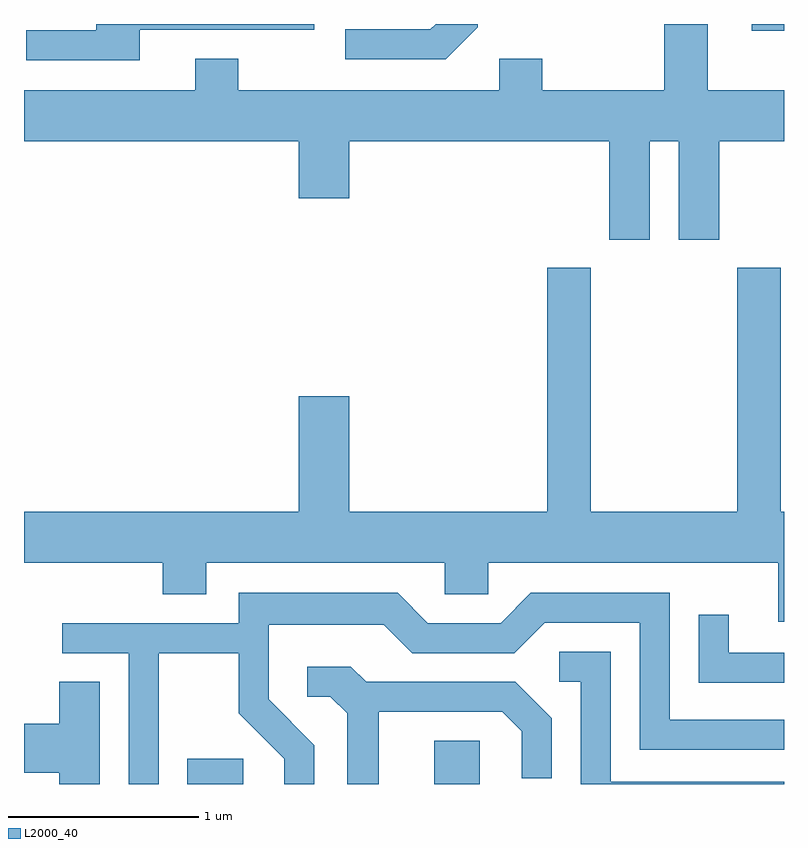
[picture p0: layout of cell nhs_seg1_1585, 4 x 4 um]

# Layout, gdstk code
import gdstk
lib = gdstk.Library(unit=1e-6, precision=1e-09)
def R(c, l, rs):  # rectangles x0, y0, x1, y1
    for r in rs: c.add(gdstk.rectangle(r[:2], r[2:], *l))
def P(c, l, *ps):  # polygons
    for p in ps: c.add(gdstk.Polygon(p, *l))
L2000_40 = (2000, 40)

nhs_seg1_1585 = lib.new_cell('nhs_seg1_1585')
R(nhs_seg1_1585, L2000_40, [(234.471,931.712,234.764,931.844), (235.771,931.712,236.009,931.939), (237.441,935.676,237.611,935.712)])
P(nhs_seg1_1585, L2000_40, [(236.904,935.096),(237.056,935.096),(237.056,934.576),(237.269,934.576),(237.269,935.096),(237.611,935.096),(237.611,935.364),(237.209,935.364),(237.209,935.712),(236.981,935.712),(236.981,935.364),(236.339,935.364),(236.339,935.529),(236.111,935.529),(236.111,935.364),(234.739,935.364),(234.739,935.529),(234.511,935.529),(234.511,935.364),(233.611,935.364),(233.611,935.096),(235.056,935.096),(235.056,934.796),(235.324,934.796),(235.324,935.096),(236.691,935.096),(236.691,934.576),(236.904,934.576)],
  [(234.219,935.681),(235.139,935.681),(235.139,935.712),(233.991,935.712),(233.991,935.679),(233.623,935.679),(233.623,935.521),(234.219,935.521)],
  [(235.999,935.694),(235.999,935.712),(235.777,935.712),(235.749,935.684),(235.303,935.684),(235.303,935.526),(235.832,935.526)],
  [(237.611,933.144),(237.594,933.144),(237.594,934.429),(237.366,934.429),(237.366,933.144),(236.594,933.144),(236.594,934.429),(236.366,934.429),(236.366,933.144),(235.324,933.144),(235.324,933.754),(235.056,933.754),(235.056,933.144),(233.611,933.144),(233.611,932.876),(234.341,932.876),(234.341,932.711),(234.569,932.711),(234.569,932.876),(235.826,932.876),(235.826,932.711),(236.054,932.711),(236.054,932.876),(237.581,932.876),(237.581,932.566),(237.611,932.566)],
  [(234.319,932.401),(234.741,932.401),(234.741,932.084),(234.981,931.844),(234.981,931.712),(235.139,931.712),(235.139,931.917),(234.899,932.157),(234.899,932.551),(235.504,932.551),(235.654,932.401),(236.192,932.401),(236.352,932.561),(236.851,932.561),(236.851,931.891),(237.611,931.891),(237.611,932.049),(237.009,932.049),(237.009,932.719),(236.279,932.719),(236.119,932.559),(235.737,932.559),(235.577,932.719),(234.741,932.719),(234.741,932.559),(233.813,932.559),(233.813,932.401),(234.161,932.401),(234.161,931.712),(234.319,931.712)],
  [(237.611,932.404),(237.319,932.404),(237.319,932.603),(237.161,932.603),(237.161,932.246),(237.611,932.246)],
  [(237.611,931.724),(236.699,931.724),(236.699,932.409),(236.428,932.409),(236.428,932.251),(236.541,932.251),(236.541,931.712),(237.611,931.712)],
  [(235.479,932.091),(236.129,932.091),(236.231,931.989),(236.231,931.743),(236.389,931.743),(236.389,932.057),(236.197,932.249),(235.412,932.249),(235.332,932.329),(235.103,932.329),(235.103,932.171),(235.224,932.171),(235.311,932.084),(235.311,931.712),(235.479,931.712)],
  [(234.009,932.249),(233.796,932.249),(233.796,932.029),(233.611,932.029),(233.611,931.771),(233.796,931.771),(233.796,931.712),(234.009,931.712)])

lib.write_gds('nhs_seg1_1585.gds')
